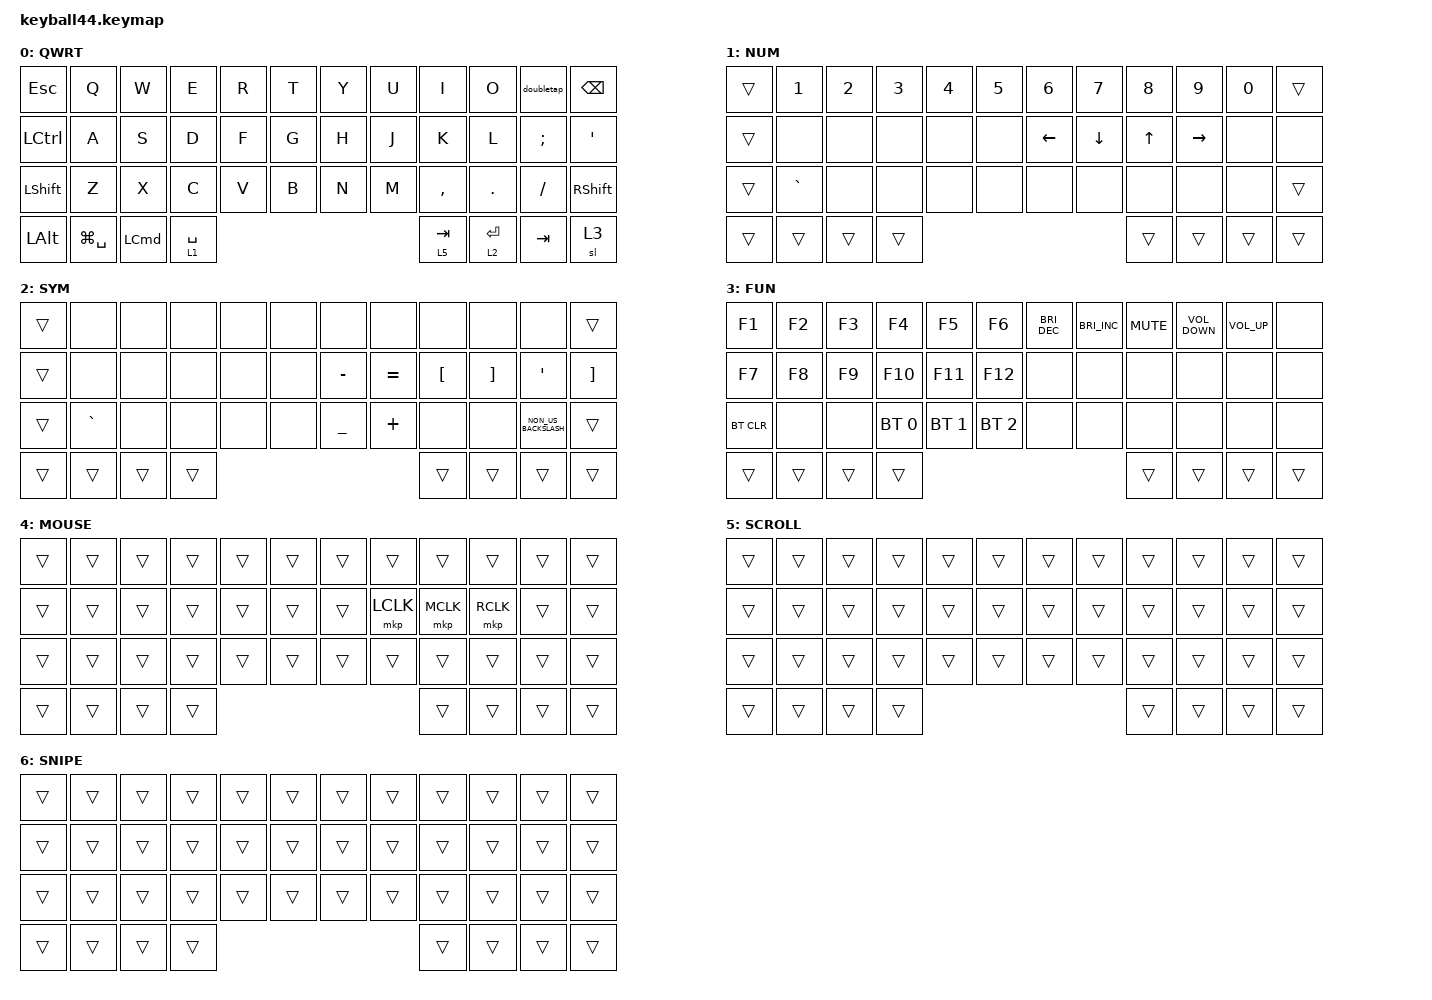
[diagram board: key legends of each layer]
#define DEFAULT 0
#define NUM     1
#define SYM     2
#define FUN     3
#define MOUSE   4
#define SCROLL  5
#define SNIPE   6

#include <behaviors/mouse_keys.dtsi>
#include <dt-bindings/zmk/mouse.h>
#include <behaviors.dtsi>
#include <dt-bindings/zmk/bt.h>
#include <dt-bindings/zmk/keys.h>
#include <dt-bindings/zmk/pointing.h>

&lt {
    tapping-term-ms = <240>;
    flavor = "balanced";
    quick-tap-ms = <150>;
};

&mt {
    tapping-term-ms = <200>;
    flavor = "tap-preferred";
    quick-tap-ms = <150>;
};

&caps_word { continue-list = <UNDERSCORE MINUS>; };

/ {
    // custom shift using mod-morph 

    behaviors {
        cmqus: comma_question {
            compatible = "zmk,behavior-mod-morph";
            label = "COMMA_QUESTION";
            #binding-cells = <0>;
            bindings = <&kp COMMA>, <&kp QUESTION>;

            mods = <(MOD_LSFT|MOD_RSFT)>;
        };

        dtsmi: dot_semi {
            compatible = "zmk,behavior-mod-morph";
            label = "DOT_SEMI";
            #binding-cells = <0>;
            bindings = <&kp DOT>, <&kp SEMI>;

            mods = <(MOD_LSFT|MOD_RSFT)>;
        };

        doubletap: doubletap {
            compatible = "zmk,behavior-tap-dance";
            label = "DOUBLETAP";
            #binding-cells = <0>;
            bindings = <&kp P>, <&kp LEFT_BRACKET>;
        };
    };

    combos {
        compatible = "zmk,combos";

        minus {
            bindings = <&kp MINUS>;
            key-positions = <20 19>;
        };

        equal {
            bindings = <&kp EQUAL>;
            key-positions = <31 32>;
        };

        left-round {
            bindings = <&kp LEFT_PARENTHESIS>;
            key-positions = <4 4 5>;
        };

        right-round {
            bindings = <&kp RIGHT_PARENTHESIS>;
            key-positions = <6 7>;
        };

        left-square {
            bindings = <&kp LEFT_BRACKET>;
            key-positions = <16 17>;
        };

        right-square {
            bindings = <&kp RIGHT_BRACKET>;
            key-positions = <18 19>;
        };

        left-curly {
            bindings = <&kp LEFT_BRACE>;
            key-positions = <28 29>;
        };

        right-curly {
            bindings = <&kp RIGHT_BRACE>;
            key-positions = <30 31>;
        };

        pipe {
            bindings = <&kp BACKSLASH>;
            key-positions = <20 21>;
        };
    };

    keymap {
        compatible = "zmk,keymap";

        default_layer {
            label = "QWRT";
            bindings = <
&kp ESCAPE      &kp Q          &kp W             &kp E        &kp R      &kp T                   &kp Y    &kp U  &kp I      &kp O    &doubletap  &kp BACKSPACE
&kp LCTRL       &kp A          &kp S             &kp D        &kp F      &kp G                   &kp H    &kp J  &kp K      &kp L    &kp SEMI    &kp SQT
&kp LEFT_SHIFT  &kp Z          &kp X             &kp C        &kp V      &kp B                   &kp N    &kp M  &kp COMMA  &kp DOT  &kp SLASH   &kp RIGHT_SHIFT
&kp LEFT_ALT    &kp LG(SPACE)  &kp LEFT_COMMAND  &lt 1 SPACE  &lt 5 TAB             &lt 2 ENTER  &kp TAB                                         &sl 3
            >;
        };

        number_layer {
            label = "NUM";
            bindings = <
&trans  &kp NUMBER_1  &kp NUMBER_2  &kp NUMBER_3  &kp NUMBER_4  &kp NUMBER_5              &kp NUMBER_6    &kp NUMBER_7    &kp NUMBER_8  &kp NUMBER_9  &kp NUMBER_0  &trans
&trans  &none         &none         &none         &none         &none                     &kp LEFT_ARROW  &kp DOWN_ARROW  &kp UP_ARROW  &kp RIGHT     &none         &none
&trans  &kp GRAVE     &none         &none         &none         &none                     &none           &none           &none         &none         &none         &trans
&trans  &trans        &trans        &trans        &trans                          &trans  &trans                                                                    &trans
            >;
        };

        symbol_layer {
            label = "SYM";
            bindings = <
&trans  &none      &none   &none   &none   &none              &none           &none      &none             &none              &none                 &trans
&trans  &none      &none   &none   &none   &none              &kp MINUS       &kp EQUAL  &kp LEFT_BRACKET  &kp RIGHT_BRACKET  &kp SQT               &kp RIGHT_BRACKET
&trans  &kp GRAVE  &none   &none   &none   &none              &kp UNDERSCORE  &kp PLUS   &none             &none              &kp NON_US_BACKSLASH  &trans
&trans  &trans     &trans  &trans  &trans             &trans  &trans                                                                                &trans
            >;
        };

        function_layer {
            label = "FUN";
            bindings = <
&kp F1      &kp F2  &kp F3  &kp F4        &kp F5        &kp F6                    &kp C_BRIGHTNESS_DEC  &kp C_BRIGHTNESS_INC  &kp K_MUTE  &kp C_VOLUME_DOWN  &kp C_VOLUME_UP  &none
&kp F7      &kp F8  &kp F9  &kp F10       &kp F11       &kp F12                   &none                 &none                 &none       &none              &none            &none
&bt BT_CLR  &none   &none   &bt BT_SEL 0  &bt BT_SEL 1  &bt BT_SEL 2              &none                 &none                 &none       &none              &none            &none
&trans      &trans  &trans  &trans        &trans                          &trans  &trans                                                                                      &trans
            >;
        };

        mouse_layer {
            label = "MOUSE";
            bindings = <
&trans  &trans  &trans  &trans  &trans  &trans              &trans  &trans     &trans     &trans     &trans  &trans
&trans  &trans  &trans  &trans  &trans  &trans              &trans  &mkp LCLK  &mkp MCLK  &mkp RCLK  &trans  &trans
&trans  &trans  &trans  &trans  &trans  &trans              &trans  &trans     &trans     &trans     &trans  &trans
&trans  &trans  &trans  &trans  &trans              &trans  &trans                                           &trans
            >;
        };

        scroll_layer {
            label = "SCROLL";
            bindings = <
&trans  &trans  &trans  &trans  &trans  &trans              &trans  &trans  &trans  &trans  &trans  &trans
&trans  &trans  &trans  &trans  &trans  &trans              &trans  &trans  &trans  &trans  &trans  &trans
&trans  &trans  &trans  &trans  &trans  &trans              &trans  &trans  &trans  &trans  &trans  &trans
&trans  &trans  &trans  &trans  &trans              &trans  &trans                                  &trans
            >;
        };

        snipe_layer {
            label = "SNIPE";
            bindings = <
&trans  &trans  &trans  &trans  &trans  &trans              &trans  &trans  &trans  &trans  &trans  &trans
&trans  &trans  &trans  &trans  &trans  &trans              &trans  &trans  &trans  &trans  &trans  &trans
&trans  &trans  &trans  &trans  &trans  &trans              &trans  &trans  &trans  &trans  &trans  &trans
&trans  &trans  &trans  &trans  &trans              &trans  &trans                                  &trans
            >;
        };
    };
};
